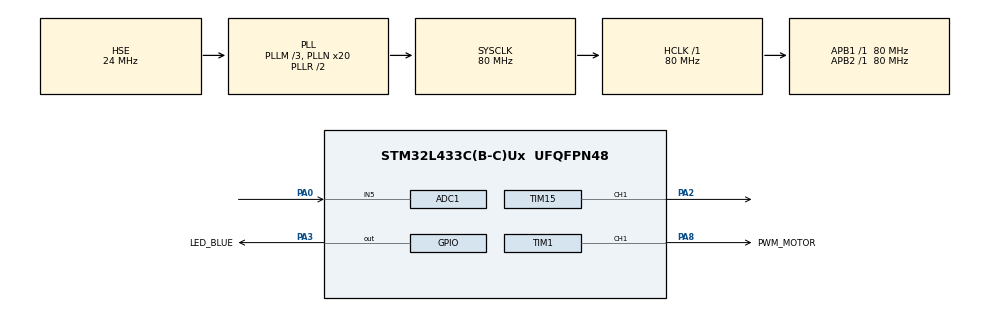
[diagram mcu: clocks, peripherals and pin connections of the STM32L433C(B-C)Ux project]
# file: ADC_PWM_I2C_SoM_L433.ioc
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ADC1.Channel-0\#ChannelRegularConversion=ADC_CHANNEL_5
ADC1.ClockPrescaler=ADC_CLOCK_ASYNC_DIV8
ADC1.ExternalTrigConv=ADC_EXTERNALTRIG_T15_TRGO
ADC1.ExternalTrigConvEdge=ADC_EXTERNALTRIGCONVEDGE_RISINGFALLING
ADC1.NbrOfConversion=1
ADC1.NbrOfConversionFlag=1
ADC1.OffsetNumber-0\#ChannelRegularConversion=ADC_OFFSET_NONE
ADC1.OversamplingMode=DISABLE
ADC1.Rank-0\#ChannelRegularConversion=1
ADC1.SamplingTime-0\#ChannelRegularConversion=ADC_SAMPLETIME_12CYCLES_5
ADC1.master=1
Mcu.Family=STM32L4
Mcu.Name=STM32L433C(B-C)Ux
Mcu.Package=UFQFPN48
NVIC.ADC1_IRQn=true\:10\:0\:true\:false\:true\:true\:true\:true
NVIC.PriorityGroup=NVIC_PRIORITYGROUP_4
NVIC.TIM1_UP_TIM16_IRQn=true\:15\:0\:true\:false\:true\:true\:true\:true
PA0.Signal=ADCx_IN5
PA13\ (JTMS-SWDIO).Mode=Trace_Asynchronous_SW
PA13\ (JTMS-SWDIO).Signal=SYS_JTMS-SWDIO
PA14\ (JTCK-SWCLK).Mode=Trace_Asynchronous_SW
PA14\ (JTCK-SWCLK).Signal=SYS_JTCK-SWCLK
PA2.Signal=S_TIM15_CH1
PA3.GPIO_Label=LED_BLUE
PA3.PinState=GPIO_PIN_SET
PA3.Signal=GPIO_Output
PA8.GPIO_Label=PWM_MOTOR
PA8.Signal=S_TIM1_CH1
PB3\ (JTDO-TRACESWO).Mode=Trace_Asynchronous_SW
PB3\ (JTDO-TRACESWO).Signal=SYS_JTDO-SWO
PH0-OSC_IN\ (PH0).Mode=HSE-External-Oscillator
PH0-OSC_IN\ (PH0).Signal=RCC_OSC_IN
PH1-OSC_OUT\ (PH1).Mode=HSE-External-Oscillator
PH1-OSC_OUT\ (PH1).Signal=RCC_OSC_OUT
ProjectManager.HeapSize=0x200
ProjectManager.StackSize=0x400
ProjectManager.TargetToolchain=STM32CubeIDE
RCC.ADCCLockSelection=RCC_ADCCLKSOURCE_SYSCLK
RCC.ADCFreq_Value=80000000
RCC.AHBFreq_Value=80000000
RCC.APB1Freq_Value=80000000
RCC.APB1TimFreq_Value=80000000
RCC.APB2Freq_Value=80000000
RCC.APB2TimFreq_Value=80000000
RCC.CortexFreq_Value=80000000
RCC.HCLKFreq_Value=80000000
RCC.HSE_VALUE=24000000
RCC.HSI48_VALUE=48000000
RCC.HSI_VALUE=16000000
RCC.LSE_VALUE=32768
RCC.MSI_VALUE=4000000
RCC.PLLM=3
RCC.PLLN=20
RCC.PLLSourceVirtual=RCC_PLLSOURCE_HSE
RCC.SYSCLKFreq_VALUE=80000000
RCC.SYSCLKSource=RCC_SYSCLKSOURCE_PLLCLK
RCC.USBFreq_Value=32000000
RCC.VCOOutputFreq_Value=160000000
SH.ADCx_IN5.0=ADC1_IN5,IN5-Single-Ended
SH.S_TIM15_CH1.0=TIM15_CH1,Output Compare1 CH1
SH.S_TIM1_CH1.0=TIM1_CH1,PWM Generation1 CH1
TIM1.AutoReloadPreload=TIM_AUTORELOAD_PRELOAD_ENABLE
TIM1.Channel-PWM\ Generation1\ CH1=TIM_CHANNEL_1
TIM1.Period=1000-1
TIM1.Prescaler=80-1
TIM15.AutoReloadPreload=TIM_AUTORELOAD_PRELOAD_ENABLE
TIM15.Channel-Output\ Compare1\ CH1=TIM_CHANNEL_1
TIM15.OCMode_1=TIM_OCMODE_TOGGLE
TIM15.Period=10000-1
TIM15.Prescaler=800-1
TIM15.TIM_MasterOutputTrigger=TIM_TRGO_UPDATE
TIM16.AutoReloadPreload=TIM_AUTORELOAD_PRELOAD_ENABLE
TIM16.Period=10000-1
TIM16.Prescaler=800-1
VP_TIM15_VS_ClockSourceINT.Mode=Internal
VP_TIM16_VS_ClockSourceINT.Mode=Enable_Timer
VP_TIM1_VS_ClockSourceINT.Mode=Internal
board=custom

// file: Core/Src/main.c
/* USER CODE BEGIN Header */
/**
  ******************************************************************************
  * @file           : main.c
  * @brief          : Main program body
  ******************************************************************************
  * @attention
  *
  * Copyright (c) 2024 STMicroelectronics.
  * All rights reserved.
  *
  * This software is licensed under terms that can be found in the LICENSE file
  * in the root directory of this software component.
  * If no LICENSE file comes with this software, it is provided AS-IS.
  *
  ******************************************************************************
  */
/* USER CODE END Header */
#include "main.h"

/* USER CODE BEGIN PD */
#define PWM_DC_MIN			0
#define PWM_DC_MAX			1000
#define ADC_MIN				0
#define ADC_MAX				4095

/* USER CODE END PD */

ADC_HandleTypeDef hadc1;

TIM_HandleTypeDef htim1;
TIM_HandleTypeDef htim15;
TIM_HandleTypeDef htim16;

/* USER CODE BEGIN PV */
// Varables to hold ADC readings and duty cycle to write to PWM signal
volatile uint16_t adcRaw = 0;
volatile uint16_t dutyCycle = 0;

/* USER CODE END PV */

void SystemClock_Config(void);
static void MX_GPIO_Init(void);
static void MX_ADC1_Init(void);
static void MX_TIM1_Init(void);
static void MX_TIM15_Init(void);
static void MX_TIM16_Init(void);
/* USER CODE BEGIN PFP */
/*
 * @brief	Map a value from one scale to a different scale (scales must be linear).
 * @param	value Value to be mapped to the new scale.
 * @param	inMin Minimum value of the base scale.
 * @param	inMax Maximum value of the base scale.
 * @param	outMin Minimum value of the scale we want to map to.
 * @param	outMax Maximum value of the scale we want to map to.
 * @retval	Equivalent value of the value input on the new scale.
 */
uint16_t mapValue(uint16_t value, uint16_t inMin, uint16_t inMax, uint16_t outMin, uint16_t outMax);

/* USER CODE END PFP */

int main(void)
{

  /* MCU Configuration--------------------------------------------------------*/

  /* Reset of all peripherals, Initializes the Flash interface and the Systick. */
  HAL_Init();

  /* Configure the system clock */
  SystemClock_Config();

  /* Initialize all configured peripherals */
  MX_GPIO_Init();
  MX_ADC1_Init();
  MX_TIM1_Init();
  MX_TIM15_Init();
  MX_TIM16_Init();
  /* USER CODE BEGIN 2 */
  // Initialize timer for the ADC
  HAL_TIM_Base_Start(&htim15);

  // Init the ADC
  HAL_ADCEx_Calibration_Start(&hadc1, ADC_SINGLE_ENDED);

  HAL_Delay(100);

  HAL_ADC_Start_IT(&hadc1);

  // Start PWM signal generation
  TIM1->CCR1 = 0;
  HAL_TIM_PWM_Start(&htim1, TIM_CHANNEL_1);

  // Initialize LED timer. Used to blink LED
  HAL_TIM_Base_Start_IT(&htim16);
  /* USER CODE END 2 */

  /* Infinite loop */
  while (1)
  {

  }
}

void SystemClock_Config(void)
{
  RCC_OscInitTypeDef RCC_OscInitStruct = {0};
  RCC_ClkInitTypeDef RCC_ClkInitStruct = {0};

  /** Configure the main internal regulator output voltage
  */
  if (HAL_PWREx_ControlVoltageScaling(PWR_REGULATOR_VOLTAGE_SCALE1) != HAL_OK)
  {
    Error_Handler();
  }

  /** Initializes the RCC Oscillators according to the specified parameters
  * in the RCC_OscInitTypeDef structure.
  */
  RCC_OscInitStruct.OscillatorType = RCC_OSCILLATORTYPE_HSE;
  RCC_OscInitStruct.HSEState = RCC_HSE_ON;
  RCC_OscInitStruct.PLL.PLLState = RCC_PLL_ON;
  RCC_OscInitStruct.PLL.PLLSource = RCC_PLLSOURCE_HSE;
  RCC_OscInitStruct.PLL.PLLM = 3;
  RCC_OscInitStruct.PLL.PLLN = 20;
  RCC_OscInitStruct.PLL.PLLP = RCC_PLLP_DIV7;
  RCC_OscInitStruct.PLL.PLLQ = RCC_PLLQ_DIV2;
  RCC_OscInitStruct.PLL.PLLR = RCC_PLLR_DIV2;
  if (HAL_RCC_OscConfig(&RCC_OscInitStruct) != HAL_OK)
  {
    Error_Handler();
  }

  /** Initializes the CPU, AHB and APB buses clocks
  */
  RCC_ClkInitStruct.ClockType = RCC_CLOCKTYPE_HCLK|RCC_CLOCKTYPE_SYSCLK
                              |RCC_CLOCKTYPE_PCLK1|RCC_CLOCKTYPE_PCLK2;
  RCC_ClkInitStruct.SYSCLKSource = RCC_SYSCLKSOURCE_PLLCLK;
  RCC_ClkInitStruct.AHBCLKDivider = RCC_SYSCLK_DIV1;
  RCC_ClkInitStruct.APB1CLKDivider = RCC_HCLK_DIV1;
  RCC_ClkInitStruct.APB2CLKDivider = RCC_HCLK_DIV1;

  if (HAL_RCC_ClockConfig(&RCC_ClkInitStruct, FLASH_LATENCY_4) != HAL_OK)
  {
    Error_Handler();
  }
}

static void MX_ADC1_Init(void)
{

  ADC_ChannelConfTypeDef sConfig = {0};

  /** Common config
  */
  hadc1.Instance = ADC1;
  hadc1.Init.ClockPrescaler = ADC_CLOCK_ASYNC_DIV8;
  hadc1.Init.Resolution = ADC_RESOLUTION_12B;
  hadc1.Init.DataAlign = ADC_DATAALIGN_RIGHT;
  hadc1.Init.ScanConvMode = ADC_SCAN_DISABLE;
  hadc1.Init.EOCSelection = ADC_EOC_SINGLE_CONV;
  hadc1.Init.LowPowerAutoWait = DISABLE;
  hadc1.Init.ContinuousConvMode = DISABLE;
  hadc1.Init.NbrOfConversion = 1;
  hadc1.Init.DiscontinuousConvMode = DISABLE;
  hadc1.Init.ExternalTrigConv = ADC_EXTERNALTRIG_T15_TRGO;
  hadc1.Init.ExternalTrigConvEdge = ADC_EXTERNALTRIGCONVEDGE_RISINGFALLING;
  hadc1.Init.DMAContinuousRequests = DISABLE;
  hadc1.Init.Overrun = ADC_OVR_DATA_PRESERVED;
  hadc1.Init.OversamplingMode = DISABLE;
  if (HAL_ADC_Init(&hadc1) != HAL_OK)
  {
    Error_Handler();
  }

  /** Configure Regular Channel
  */
  sConfig.Channel = ADC_CHANNEL_5;
  sConfig.Rank = ADC_REGULAR_RANK_1;
  sConfig.SamplingTime = ADC_SAMPLETIME_12CYCLES_5;
  sConfig.SingleDiff = ADC_SINGLE_ENDED;
  sConfig.OffsetNumber = ADC_OFFSET_NONE;
  sConfig.Offset = 0;
  if (HAL_ADC_ConfigChannel(&hadc1, &sConfig) != HAL_OK)
  {
    Error_Handler();
  }

}

static void MX_TIM1_Init(void)
{

  TIM_ClockConfigTypeDef sClockSourceConfig = {0};
  TIM_MasterConfigTypeDef sMasterConfig = {0};
  TIM_OC_InitTypeDef sConfigOC = {0};
  TIM_BreakDeadTimeConfigTypeDef sBreakDeadTimeConfig = {0};

  htim1.Instance = TIM1;
  htim1.Init.Prescaler = 80-1;
  htim1.Init.CounterMode = TIM_COUNTERMODE_UP;
  htim1.Init.Period = 1000-1;
  htim1.Init.ClockDivision = TIM_CLOCKDIVISION_DIV1;
  htim1.Init.RepetitionCounter = 0;
  htim1.Init.AutoReloadPreload = TIM_AUTORELOAD_PRELOAD_ENABLE;
  if (HAL_TIM_Base_Init(&htim1) != HAL_OK)
  {
    Error_Handler();
  }
  sClockSourceConfig.ClockSource = TIM_CLOCKSOURCE_INTERNAL;
  if (HAL_TIM_ConfigClockSource(&htim1, &sClockSourceConfig) != HAL_OK)
  {
    Error_Handler();
  }
  if (HAL_TIM_PWM_Init(&htim1) != HAL_OK)
  {
    Error_Handler();
  }
  sMasterConfig.MasterOutputTrigger = TIM_TRGO_RESET;
  sMasterConfig.MasterOutputTrigger2 = TIM_TRGO2_RESET;
  sMasterConfig.MasterSlaveMode = TIM_MASTERSLAVEMODE_DISABLE;
  if (HAL_TIMEx_MasterConfigSynchronization(&htim1, &sMasterConfig) != HAL_OK)
  {
    Error_Handler();
  }
  sConfigOC.OCMode = TIM_OCMODE_PWM1;
  sConfigOC.Pulse = 0;
  sConfigOC.OCPolarity = TIM_OCPOLARITY_HIGH;
  sConfigOC.OCNPolarity = TIM_OCNPOLARITY_HIGH;
  sConfigOC.OCFastMode = TIM_OCFAST_DISABLE;
  sConfigOC.OCIdleState = TIM_OCIDLESTATE_RESET;
  sConfigOC.OCNIdleState = TIM_OCNIDLESTATE_RESET;
  if (HAL_TIM_PWM_ConfigChannel(&htim1, &sConfigOC, TIM_CHANNEL_1) != HAL_OK)
  {
    Error_Handler();
  }
  sBreakDeadTimeConfig.OffStateRunMode = TIM_OSSR_DISABLE;
  sBreakDeadTimeConfig.OffStateIDLEMode = TIM_OSSI_DISABLE;
  sBreakDeadTimeConfig.LockLevel = TIM_LOCKLEVEL_OFF;
  sBreakDeadTimeConfig.DeadTime = 0;
  sBreakDeadTimeConfig.BreakState = TIM_BREAK_DISABLE;
  sBreakDeadTimeConfig.BreakPolarity = TIM_BREAKPOLARITY_HIGH;
  sBreakDeadTimeConfig.BreakFilter = 0;
  sBreakDeadTimeConfig.Break2State = TIM_BREAK2_DISABLE;
  sBreakDeadTimeConfig.Break2Polarity = TIM_BREAK2POLARITY_HIGH;
  sBreakDeadTimeConfig.Break2Filter = 0;
  sBreakDeadTimeConfig.AutomaticOutput = TIM_AUTOMATICOUTPUT_DISABLE;
  if (HAL_TIMEx_ConfigBreakDeadTime(&htim1, &sBreakDeadTimeConfig) != HAL_OK)
  {
    Error_Handler();
  }
  HAL_TIM_MspPostInit(&htim1);

}

static void MX_TIM15_Init(void)
{

  TIM_ClockConfigTypeDef sClockSourceConfig = {0};
  TIM_MasterConfigTypeDef sMasterConfig = {0};
  TIM_OC_InitTypeDef sConfigOC = {0};
  TIM_BreakDeadTimeConfigTypeDef sBreakDeadTimeConfig = {0};

  htim15.Instance = TIM15;
  htim15.Init.Prescaler = 800-1;
  htim15.Init.CounterMode = TIM_COUNTERMODE_UP;
  htim15.Init.Period = 10000-1;
  htim15.Init.ClockDivision = TIM_CLOCKDIVISION_DIV1;
  htim15.Init.RepetitionCounter = 0;
  htim15.Init.AutoReloadPreload = TIM_AUTORELOAD_PRELOAD_ENABLE;
  if (HAL_TIM_Base_Init(&htim15) != HAL_OK)
  {
    Error_Handler();
  }
  sClockSourceConfig.ClockSource = TIM_CLOCKSOURCE_INTERNAL;
  if (HAL_TIM_ConfigClockSource(&htim15, &sClockSourceConfig) != HAL_OK)
  {
    Error_Handler();
  }
  if (HAL_TIM_OC_Init(&htim15) != HAL_OK)
  {
    Error_Handler();
  }
  sMasterConfig.MasterOutputTrigger = TIM_TRGO_UPDATE;
  sMasterConfig.MasterSlaveMode = TIM_MASTERSLAVEMODE_DISABLE;
  if (HAL_TIMEx_MasterConfigSynchronization(&htim15, &sMasterConfig) != HAL_OK)
  {
    Error_Handler();
  }
  sConfigOC.OCMode = TIM_OCMODE_TOGGLE;
  sConfigOC.Pulse = 0;
  sConfigOC.OCPolarity = TIM_OCPOLARITY_HIGH;
  sConfigOC.OCNPolarity = TIM_OCNPOLARITY_HIGH;
  sConfigOC.OCFastMode = TIM_OCFAST_DISABLE;
  sConfigOC.OCIdleState = TIM_OCIDLESTATE_RESET;
  sConfigOC.OCNIdleState = TIM_OCNIDLESTATE_RESET;
  if (HAL_TIM_OC_ConfigChannel(&htim15, &sConfigOC, TIM_CHANNEL_1) != HAL_OK)
  {
    Error_Handler();
  }
  sBreakDeadTimeConfig.OffStateRunMode = TIM_OSSR_DISABLE;
  sBreakDeadTimeConfig.OffStateIDLEMode = TIM_OSSI_DISABLE;
  sBreakDeadTimeConfig.LockLevel = TIM_LOCKLEVEL_OFF;
  sBreakDeadTimeConfig.DeadTime = 0;
  sBreakDeadTimeConfig.BreakState = TIM_BREAK_DISABLE;
  sBreakDeadTimeConfig.BreakPolarity = TIM_BREAKPOLARITY_HIGH;
  sBreakDeadTimeConfig.AutomaticOutput = TIM_AUTOMATICOUTPUT_DISABLE;
  if (HAL_TIMEx_ConfigBreakDeadTime(&htim15, &sBreakDeadTimeConfig) != HAL_OK)
  {
    Error_Handler();
  }
  HAL_TIM_MspPostInit(&htim15);

}

static void MX_TIM16_Init(void)
{

  htim16.Instance = TIM16;
  htim16.Init.Prescaler = 800-1;
  htim16.Init.CounterMode = TIM_COUNTERMODE_UP;
  htim16.Init.Period = 10000-1;
  htim16.Init.ClockDivision = TIM_CLOCKDIVISION_DIV1;
  htim16.Init.RepetitionCounter = 0;
  htim16.Init.AutoReloadPreload = TIM_AUTORELOAD_PRELOAD_ENABLE;
  if (HAL_TIM_Base_Init(&htim16) != HAL_OK)
  {
    Error_Handler();
  }

}

static void MX_GPIO_Init(void)
{
  GPIO_InitTypeDef GPIO_InitStruct = {0};

  /* GPIO Ports Clock Enable */
  __HAL_RCC_GPIOH_CLK_ENABLE();
  __HAL_RCC_GPIOA_CLK_ENABLE();
  __HAL_RCC_GPIOB_CLK_ENABLE();

  /*Configure GPIO pin Output Level */
  HAL_GPIO_WritePin(LED_BLUE_GPIO_Port, LED_BLUE_Pin, GPIO_PIN_SET);

  /*Configure GPIO pin : LED_BLUE_Pin */
  GPIO_InitStruct.Pin = LED_BLUE_Pin;
  GPIO_InitStruct.Mode = GPIO_MODE_OUTPUT_PP;
  GPIO_InitStruct.Pull = GPIO_NOPULL;
  GPIO_InitStruct.Speed = GPIO_SPEED_FREQ_LOW;
  HAL_GPIO_Init(LED_BLUE_GPIO_Port, &GPIO_InitStruct);

}

/* USER CODE BEGIN 4 */
void HAL_TIM_PeriodElapsedCallback(TIM_HandleTypeDef *htim)
{
	if(htim->Instance == TIM16) {
		HAL_GPIO_TogglePin(LED_BLUE_GPIO_Port, LED_BLUE_Pin);
	}
}

void HAL_ADC_ConvCpltCallback(ADC_HandleTypeDef *hadc)
{
	// If interrupt is generated by ADC1 proceed with calculations
	if(hadc->Instance == ADC1) {
		// Get ADC raw value.
		adcRaw = HAL_ADC_GetValue(hadc);

		/*
		 * Map ADC reading to the scales of the PWM signal duty cycle. Since the
		 * period for timer 1 (PWM timer) was set at 1000. The duty cycle range from 0 to 1000,
		 * which translate to 0-100% (for a direct conversion you could select a period of 100).
		 */
		dutyCycle = mapValue(adcRaw, ADC_MIN, ADC_MAX, PWM_DC_MIN, PWM_DC_MAX);

		// Set the new duty cycle.
		__HAL_TIM_SET_COMPARE(&htim1, TIM_CHANNEL_1, dutyCycle);
	}
}

uint16_t mapValue(uint16_t value, uint16_t inMin, uint16_t inMax, uint16_t outMin, uint16_t outMax)
{
	static volatile uint16_t convertedValue = 0;

	convertedValue = (((value - inMin) * (outMax - outMin)) / (inMax - inMin)) + inMin;

	return convertedValue;
}
/* USER CODE END 4 */

void Error_Handler(void)
{
  __disable_irq();
  while (1)
  {
  }
}
